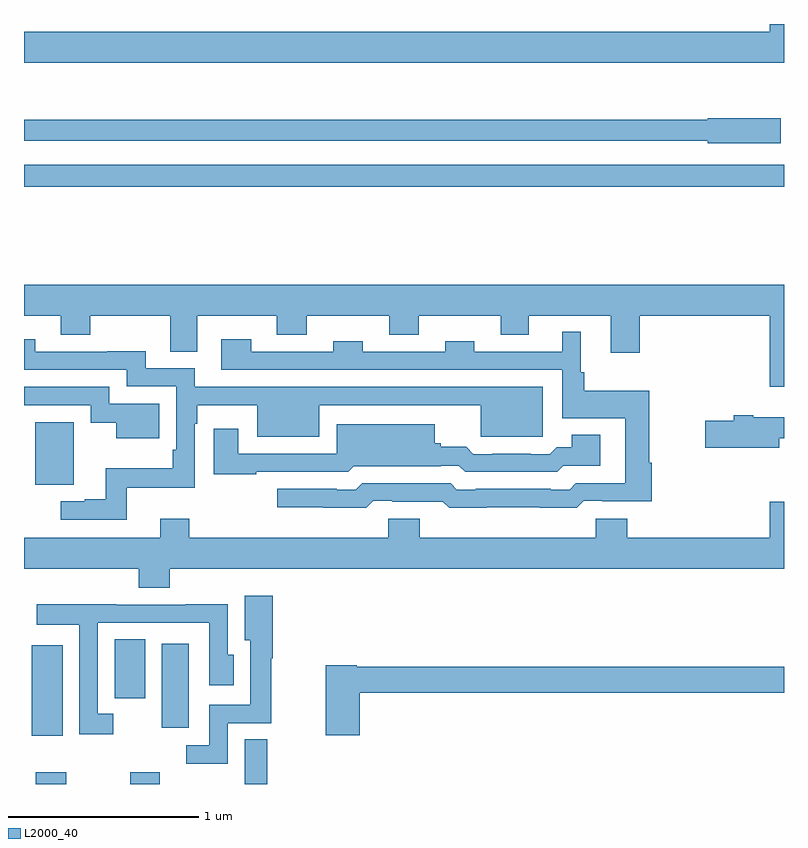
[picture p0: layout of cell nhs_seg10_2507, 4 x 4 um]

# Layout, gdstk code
import gdstk
lib = gdstk.Library(unit=1e-6, precision=1e-09)
def R(c, l, rs):  # rectangles x0, y0, x1, y1
    for r in rs: c.add(gdstk.rectangle(r[:2], r[2:], *l))
def P(c, l, *ps):  # polygons
    for p in ps: c.add(gdstk.Polygon(p, *l))
L2000_40 = (2000, 40)

nhs_seg10_2507 = lib.new_cell('nhs_seg10_2507')
R(nhs_seg10_2507, L2000_40, [(245.063,1316.5,245.223,1316.563), (245.56,1316.5,245.715,1316.563), (246.161,1316.5,246.28,1316.735), (245.042,1316.754,245.203,1317.229), (245.726,1316.796,245.866,1317.238), (245.477,1316.952,245.638,1317.263), (245.06,1318.076,245.263,1318.405), (245,1319.644,249,1319.76)])
P(nhs_seg10_2507, L2000_40, [(249,1320.5),(248.924,1320.5),(248.924,1320.46),(245,1320.46),(245,1320.296),(249,1320.296)],
  [(248.983,1320.003),(248.598,1320.003),(248.598,1319.995),(245,1319.995),(245,1319.886),(248.598,1319.886),(248.598,1319.873),(248.983,1319.873)],
  [(249,1319.128),(245,1319.128),(245,1318.964),(245.194,1318.964),(245.194,1318.865),(245.349,1318.865),(245.349,1318.964),(245.771,1318.964),(245.771,1318.774),(245.911,1318.774),(245.911,1318.964),(246.331,1318.964),(246.331,1318.865),(246.489,1318.865),(246.489,1318.964),(246.922,1318.964),(246.922,1318.865),(247.077,1318.865),(247.077,1318.964),(247.51,1318.964),(247.51,1318.865),(247.657,1318.865),(247.657,1318.964),(248.087,1318.964),(248.087,1318.77),(248.24,1318.77),(248.24,1318.964),(248.924,1318.964),(248.924,1318.59),(249,1318.59)],
  [(246.837,1317.99),(246.937,1317.99),(246.937,1317.986),(247.205,1317.986),(247.238,1317.954),(247.436,1317.954),(247.436,1317.956),(247.714,1317.956),(247.714,1317.954),(247.909,1317.954),(247.945,1317.99),(248.044,1317.99),(248.044,1317.987),(248.303,1317.987),(248.303,1318.19),(248.29,1318.19),(248.29,1318.57),(247.949,1318.57),(247.949,1318.666),(247.93,1318.666),(247.93,1318.879),(247.832,1318.879),(247.832,1318.776),(247.371,1318.776),(247.371,1318.831),(247.216,1318.831),(247.216,1318.776),(246.783,1318.776),(246.783,1318.831),(246.628,1318.831),(246.628,1318.776),(246.195,1318.776),(246.195,1318.84),(246.039,1318.84),(246.039,1318.68),(247.833,1318.68),(247.833,1318.424),(248.165,1318.424),(248.165,1318.083),(247.905,1318.083),(247.872,1318.05),(247.772,1318.05),(247.772,1318.053),(247.378,1318.053),(247.378,1318.05),(247.278,1318.05),(247.245,1318.083),(246.78,1318.083),(246.747,1318.05),(246.647,1318.05),(246.647,1318.053),(246.333,1318.053),(246.333,1317.956),(246.576,1317.956),(246.576,1317.954),(246.801,1317.954)],
  [(245.542,1318.058),(245.898,1318.058),(245.898,1318.397),(245.911,1318.397),(245.911,1318.494),(246.227,1318.494),(246.227,1318.328),(246.553,1318.328),(246.553,1318.494),(247.403,1318.494),(247.403,1318.328),(247.729,1318.328),(247.729,1318.591),(247.507,1318.591),(247.507,1318.59),(245.899,1318.59),(245.899,1318.689),(245.641,1318.689),(245.641,1318.778),(245.437,1318.778),(245.437,1318.776),(245.06,1318.776),(245.06,1318.84),(245,1318.84),(245,1318.68),(245.54,1318.68),(245.54,1318.593),(245.802,1318.593),(245.802,1318.258),(245.782,1318.258),(245.782,1318.162),(245.429,1318.162),(245.429,1318),(245.319,1318),(245.319,1317.987),(245.193,1317.987),(245.193,1317.891),(245.542,1317.891)],
  [(245.713,1318.501),(245.448,1318.501),(245.448,1318.59),(245,1318.59),(245,1318.494),(245.352,1318.494),(245.352,1318.402),(245.486,1318.402),(245.486,1318.319),(245.713,1318.319)],
  [(248.974,1318.32),(249,1318.32),(249,1318.429),(248.839,1318.429),(248.839,1318.442),(248.735,1318.442),(248.735,1318.412),(248.586,1318.412),(248.586,1318.27),(248.974,1318.27)],
  [(246.223,1318.143),(246.706,1318.143),(246.735,1318.172),(247.193,1318.172),(247.193,1318.176),(247.289,1318.176),(247.322,1318.143),(247.806,1318.143),(247.839,1318.176),(248.032,1318.176),(248.032,1318.339),(247.883,1318.339),(247.883,1318.273),(247.804,1318.273),(247.767,1318.236),(247.667,1318.236),(247.667,1318.239),(247.465,1318.239),(247.465,1318.236),(247.365,1318.236),(247.327,1318.274),(247.194,1318.274),(247.194,1318.294),(247.162,1318.294),(247.162,1318.393),(246.645,1318.393),(246.645,1318.239),(246.127,1318.239),(246.127,1318.369),(245.999,1318.369),(245.999,1318.131),(246.223,1318.131)],
  [(245.768,1317.632),(249,1317.632),(249,1317.985),(248.924,1317.985),(248.924,1317.796),(248.174,1317.796),(248.174,1317.895),(248.009,1317.895),(248.009,1317.796),(247.082,1317.796),(247.082,1317.895),(246.917,1317.895),(246.917,1317.796),(245.87,1317.796),(245.87,1317.895),(245.717,1317.895),(245.717,1317.796),(245,1317.796),(245,1317.632),(245.603,1317.632),(245.603,1317.533),(245.768,1317.533)],
  [(246.072,1316.82),(246.302,1316.82),(246.302,1317.161),(246.31,1317.161),(246.31,1317.49),(246.161,1317.49),(246.161,1317.257),(246.191,1317.257),(246.191,1316.916),(245.976,1316.916),(245.976,1316.703),(245.853,1316.703),(245.853,1316.606),(246.072,1316.606)],
  [(245.47,1316.871),(245.388,1316.871),(245.388,1317.348),(245.976,1317.348),(245.976,1317.021),(246.103,1317.021),(246.103,1317.18),(246.072,1317.18),(246.072,1317.446),(245.851,1317.446),(245.851,1317.444),(245.485,1317.444),(245.485,1317.446),(245.067,1317.446),(245.067,1317.338),(245.292,1317.338),(245.292,1316.763),(245.47,1316.763)],
  [(246.767,1316.98),(249,1316.98),(249,1317.116),(246.75,1317.116),(246.75,1317.124),(246.589,1317.124),(246.589,1316.757),(246.767,1316.757)])

lib.write_gds('nhs_seg10_2507.gds')
